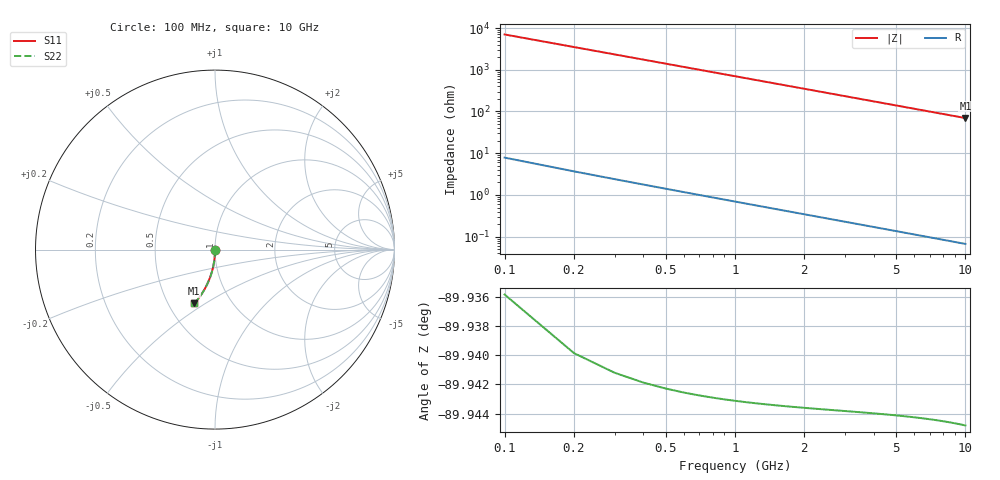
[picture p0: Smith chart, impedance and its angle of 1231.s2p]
# Hz S RI R 50.00
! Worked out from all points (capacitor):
!   100 points, 100 MHz to 10 GHz, reference 50 ohm
!   read as one part in shunt: C = 227 fF near 100 MHz
!   lowest |Z| = 69.7 ohm at 10 GHz (marker M1)
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1e8  4.21e-05 -0.00338  0.9999 -0.00376  0.9999 -0.00376  4.21e-05 -0.00338
2e8  8.85e-07 -0.00676  0.9999 -0.00751  0.9999 -0.00751  8.85e-07 -0.00676
3e8  -6.58e-05 -0.0101  0.9998 -0.0113  0.9998 -0.0113  -6.58e-05 -0.0101
4e8  -0.000158 -0.0135  0.9997 -0.015  0.9997 -0.015  -0.000158 -0.0135
5e8  -0.000275 -0.0169  0.9996 -0.0188  0.9996 -0.0188  -0.000275 -0.0169
6e8  -0.000418 -0.0203  0.9995 -0.0225  0.9995 -0.0225  -0.000418 -0.0203
7e8  -0.000587 -0.0236  0.9993 -0.0263  0.9993 -0.0263  -0.000587 -0.0236
8e8  -0.00078 -0.027  0.9991 -0.03  0.9991 -0.03  -0.00078 -0.027
9e8  -0.000999 -0.0304  0.9989 -0.0338  0.9989 -0.0338  -0.000999 -0.0304
1.1e9  -0.00151 -0.0371  0.9984 -0.0413  0.9984 -0.0413  -0.00151 -0.0371
1.4e9  -0.00247 -0.0472  0.9974 -0.0525  0.9974 -0.0525  -0.00247 -0.0472
1.8e9  -0.00411 -0.0606  0.9957 -0.0674  0.9957 -0.0674  -0.00411 -0.0606
2.1e9  -0.00559 -0.0706  0.9943 -0.0786  0.9943 -0.0786  -0.00559 -0.0706
2.5e9  -0.00792 -0.0839  0.9919 -0.0933  0.9919 -0.0933  -0.00792 -0.0839
2.9e9  -0.0106 -0.0971  0.9892 -0.108  0.9892 -0.108  -0.0106 -0.0971
3.4e9  -0.0146 -0.1134  0.9852 -0.1263  0.9852 -0.1263  -0.0146 -0.1134
4.2e9  -0.0221 -0.1391  0.9776 -0.155  0.9776 -0.155  -0.0221 -0.1391
5.1e9  -0.0324 -0.1673  0.9673 -0.1866  0.9673 -0.1866  -0.0324 -0.1673
5.9e9  -0.0429 -0.1915  0.9567 -0.2138  0.9567 -0.2138  -0.0429 -0.1915
6.7e9  -0.0548 -0.2148  0.9447 -0.2403  0.9447 -0.2403  -0.0548 -0.2148
8.4e9  -0.0839 -0.2612  0.9155 -0.2932  0.9155 -0.2932  -0.0839 -0.2612
1e10  -0.1152 -0.3002  0.8839 -0.3385  0.8839 -0.3385  -0.1152 -0.3002
